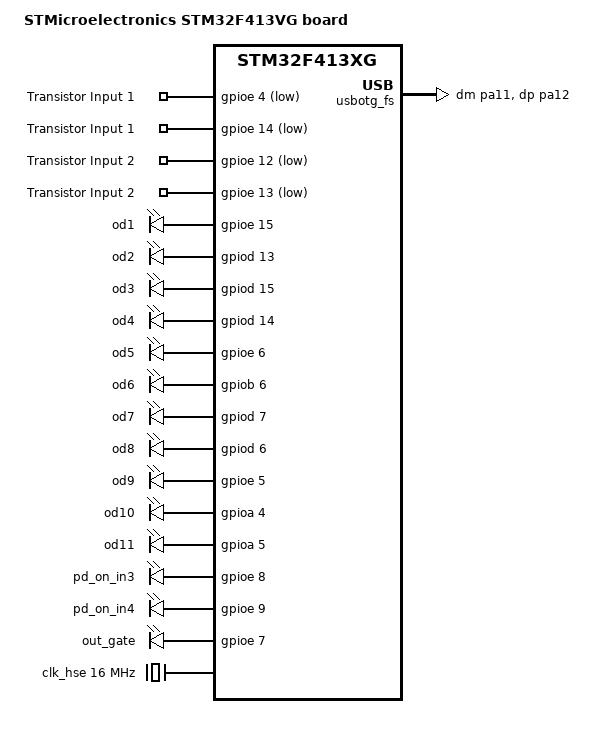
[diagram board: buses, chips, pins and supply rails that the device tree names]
/*
 * Copyright (c) 2020 Thomas Stranger
 *
 * SPDX-License-Identifier: Apache-2.0
 */

/dts-v1/;
#include <st/f4/stm32f413Xg.dtsi>
#include <st/f4/stm32f413v(g-h)tx-pinctrl.dtsi>
#include <zephyr/dt-bindings/input/input-event-codes.h>

/ {
	model = "STMicroelectronics STM32F413VG board";
	compatible = "st,igla-x2";

	chosen {	
		zephyr,sram = &sram0;
		zephyr,flash = &flash0;
	};

	transistor_inputs: transistor-inputs {
		compatible = "gpio-keys";
		status = "okay";

		gray_in: gray_in {
			gpios = <&gpioe 4 (GPIO_ACTIVE_LOW | GPIO_PULL_UP)>;
			label = "Transistor Input 1";
		};

		ign_in: ign_in {
			gpios = <&gpioe 14 (GPIO_ACTIVE_LOW | GPIO_PULL_UP)>;
			label = "Transistor Input 1";
		};

		in_ch3: in_ch3 {
			gpios = <&gpioe 12 (GPIO_ACTIVE_LOW | GPIO_PULL_UP)>;
			label = "Transistor Input 2";
		};

		in_ch4: in_ch4 {
			gpios = <&gpioe 13 (GPIO_ACTIVE_LOW | GPIO_PULL_UP)>;
			label = "Transistor Input 2";
		};
	};

	dout_contorl: dout_contorl {
		compatible = "gpio-leds";

		od1: od1 {
			gpios = <&gpioe 15 GPIO_ACTIVE_HIGH>;
		};
		od2: od2 {
			gpios = <&gpiod 13 GPIO_ACTIVE_HIGH>;
		};
		od3: od3 {
			gpios = <&gpiod 15 GPIO_ACTIVE_HIGH>;
		};
		od4: od4 {
			gpios = <&gpiod 14 GPIO_ACTIVE_HIGH>;
		};
		od5: od5 {
			gpios = <&gpioe 6 GPIO_ACTIVE_HIGH>;
		};
		od6: od6 {
			gpios = <&gpiob 6 GPIO_ACTIVE_HIGH>;
		};
		od7: od7 {
			gpios = <&gpiod 7 GPIO_ACTIVE_HIGH>;
		};
		od8: od8 {
			gpios = <&gpiod 6 GPIO_ACTIVE_HIGH>;
		};
		od9: od9 {
			gpios = <&gpioe 5 GPIO_ACTIVE_HIGH>;
		};
		od10: od10 {
			gpios = <&gpioa 4 GPIO_ACTIVE_HIGH>;
		};
		od11: od11 {
			gpios = <&gpioa 5 GPIO_ACTIVE_HIGH>;
		};
		pd_on_in3: pd_on_in3 {
			gpios = <&gpioe 8 GPIO_ACTIVE_HIGH>;
		};
		pd_on_in4: pd_on_in4 {
			gpios = <&gpioe 9 GPIO_ACTIVE_HIGH>;
		};
		out_gate: out_gate {
			gpios = <&gpioe 7 GPIO_ACTIVE_HIGH>;
		};
	};
};

&clk_hsi {
	status = "okay";
};

/* 1. Настройка внешнего кварца (HSE) */
&clk_hse {
	clock-frequency = <DT_FREQ_M(16)>;
	status = "okay";
};

/* 2. Конфигурация главного умножителя частоты (PLL) */
&pll {
	div-m = <8>;
	mul-n = <72>;
	div-p = <2>;
	div-q = <3>;
	clocks = <&clk_hsi>;
	status = "okay";
};

/* 3. Конфигурация системных шин в блоке RCC */
&rcc {
	clocks = <&pll>;
	clock-frequency = <DT_FREQ_M(72)>;
	ahb-prescaler = <1>;
	apb1-prescaler = <2>;
	apb2-prescaler = <1>;
};

&clk48 {
	status = "okay";
};

&iwdg {
	status = "disabled";
};

/* Привязываем стандартную метку нового USB-стека к аппаратному контроллеру */
zephyr_udc0: &usbotg_fs {
    status = "okay";
    pinctrl-0 = <&usb_otg_fs_dm_pa11 &usb_otg_fs_dp_pa12>;
    pinctrl-names = "default";

    /* Определяем виртуальный UART для CDC ACM внутри контроллера */
    cdc_acm_uart0: cdc_acm_uart0 {
        compatible = "zephyr,cdc-acm-uart";
        label = "CDC_ACM_0";
    };
};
